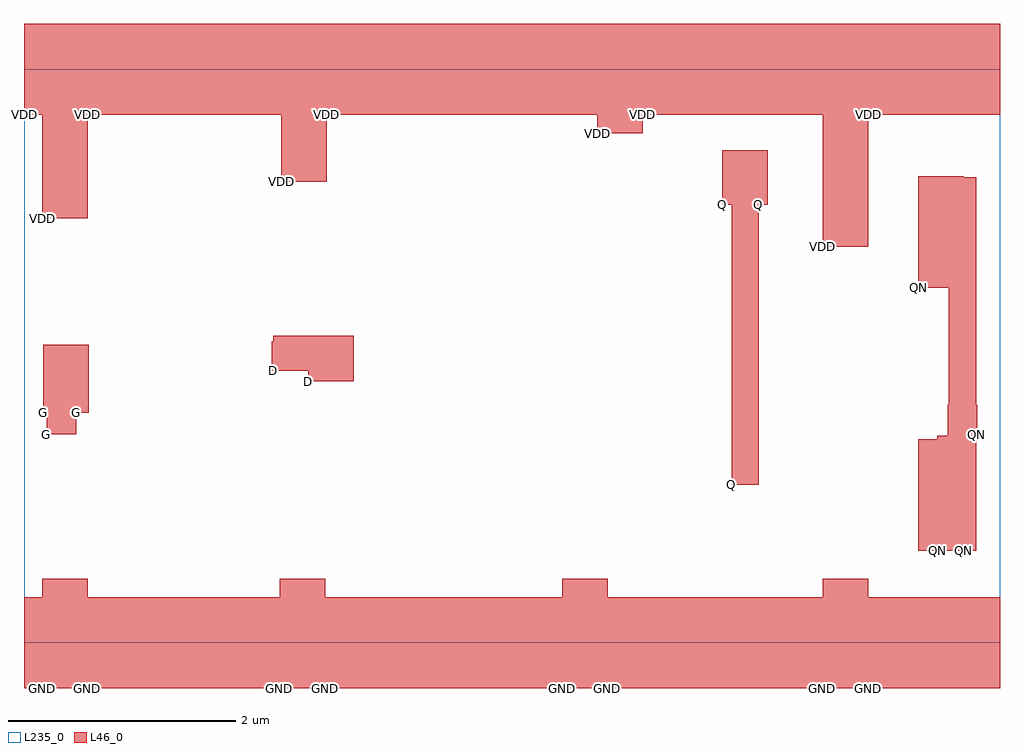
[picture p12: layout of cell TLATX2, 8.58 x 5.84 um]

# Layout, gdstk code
import gdstk
lib = gdstk.Library(unit=1e-6, precision=1e-09)
def R(c, l, rs):  # rectangles x0, y0, x1, y1
    for r in rs: c.add(gdstk.rectangle(r[:2], r[2:], *l))
L46_0 = (46, 0)
L235_0 = (235, 0)

tlatx2 = lib.new_cell('TLATX2')
R(tlatx2, L46_0, [(0,-0.4,0.16,0.4), (0.16,-0.4,0.56,0.56), (0.56,-0.4,2.25,0.4), (2.25,-0.4,2.65,0.56), (2.65,-0.4,4.73,0.4), (4.73,-0.4,5.13,0.56), (5.13,-0.4,7.02,0.4), (7.02,-0.4,7.42,0.56), (7.42,-0.4,8.58,0.4), (7.86,0.81,8.03,1.79), (8.03,0.81,8.12,1.82), (8.12,0.81,8.13,2.09), (8.13,0.81,8.26,4.1), (8.26,0.81,8.37,4.09), (6.22,1.39,6.46,4.33), (0.2,1.83,0.46,2.62), (8.37,1.83,8.38,2.09), (0.17,2.02,0.2,2.62), (0.46,2.02,0.57,2.62), (2.5,2.3,2.9,2.7), (2.18,2.39,2.19,2.65), (2.19,2.39,2.5,2.7), (7.86,3.12,8.13,4.1), (7.02,3.48,7.42,5.44), (0.16,3.73,0.56,5.44), (6.14,3.85,6.22,4.33), (6.46,3.85,6.54,4.33), (2.26,4.05,2.66,5.44), (5.04,4.48,5.44,5.44), (0,4.64,0.16,5.44), (0.56,4.64,2.26,5.44), (2.66,4.64,5.04,5.44), (5.44,4.64,7.02,5.44), (7.42,4.64,8.58,5.44)])
R(tlatx2, L235_0, [(0,0,8.58,5.04)])
tlatx2.add(gdstk.Label('QN', (8.37,1.83), layer=101, texttype=0))
tlatx2.add(gdstk.Label('QN', (8.26,0.81), layer=101, texttype=0))
tlatx2.add(gdstk.Label('QN', (8.13,0.81), layer=101, texttype=0))
tlatx2.add(gdstk.Label('QN', (8.12,0.81), layer=101, texttype=0))
tlatx2.add(gdstk.Label('QN', (7.86,3.12), layer=101, texttype=0))
tlatx2.add(gdstk.Label('QN', (8.03,0.81), layer=101, texttype=0))
tlatx2.add(gdstk.Label('QN', (7.86,0.81), layer=101, texttype=0))
tlatx2.add(gdstk.Label('Q', (6.46,3.85), layer=101, texttype=0))
tlatx2.add(gdstk.Label('Q', (6.22,1.39), layer=101, texttype=0))
tlatx2.add(gdstk.Label('Q', (6.14,3.85), layer=101, texttype=0))
tlatx2.add(gdstk.Label('G', (0.46,2.02), layer=101, texttype=0))
tlatx2.add(gdstk.Label('G', (0.2,1.83), layer=101, texttype=0))
tlatx2.add(gdstk.Label('G', (0.17,2.02), layer=101, texttype=0))
tlatx2.add(gdstk.Label('D', (2.5,2.3), layer=101, texttype=0))
tlatx2.add(gdstk.Label('D', (2.19,2.39), layer=101, texttype=0))
tlatx2.add(gdstk.Label('D', (2.18,2.39), layer=101, texttype=0))
tlatx2.add(gdstk.Label('VDD', (7.42,4.64), layer=101, texttype=0))
tlatx2.add(gdstk.Label('VDD', (7.02,3.48), layer=101, texttype=0))
tlatx2.add(gdstk.Label('VDD', (5.44,4.64), layer=101, texttype=0))
tlatx2.add(gdstk.Label('VDD', (5.04,4.48), layer=101, texttype=0))
tlatx2.add(gdstk.Label('VDD', (2.66,4.64), layer=101, texttype=0))
tlatx2.add(gdstk.Label('VDD', (2.26,4.05), layer=101, texttype=0))
tlatx2.add(gdstk.Label('VDD', (0.56,4.64), layer=101, texttype=0))
tlatx2.add(gdstk.Label('VDD', (0.16,3.73), layer=101, texttype=0))
tlatx2.add(gdstk.Label('VDD', (0,4.64), layer=101, texttype=0))
tlatx2.add(gdstk.Label('GND', (7.42,-0.4), layer=101, texttype=0))
tlatx2.add(gdstk.Label('GND', (7.02,-0.4), layer=101, texttype=0))
tlatx2.add(gdstk.Label('GND', (5.13,-0.4), layer=101, texttype=0))
tlatx2.add(gdstk.Label('GND', (4.73,-0.4), layer=101, texttype=0))
tlatx2.add(gdstk.Label('GND', (2.65,-0.4), layer=101, texttype=0))
tlatx2.add(gdstk.Label('GND', (2.25,-0.4), layer=101, texttype=0))
tlatx2.add(gdstk.Label('GND', (0.56,-0.4), layer=101, texttype=0))
tlatx2.add(gdstk.Label('GND', (0.16,-0.4), layer=101, texttype=0))
tlatx2.add(gdstk.Label('GND', (0,-0.4), layer=101, texttype=0))

lib.write_gds('TLATX2.gds')
